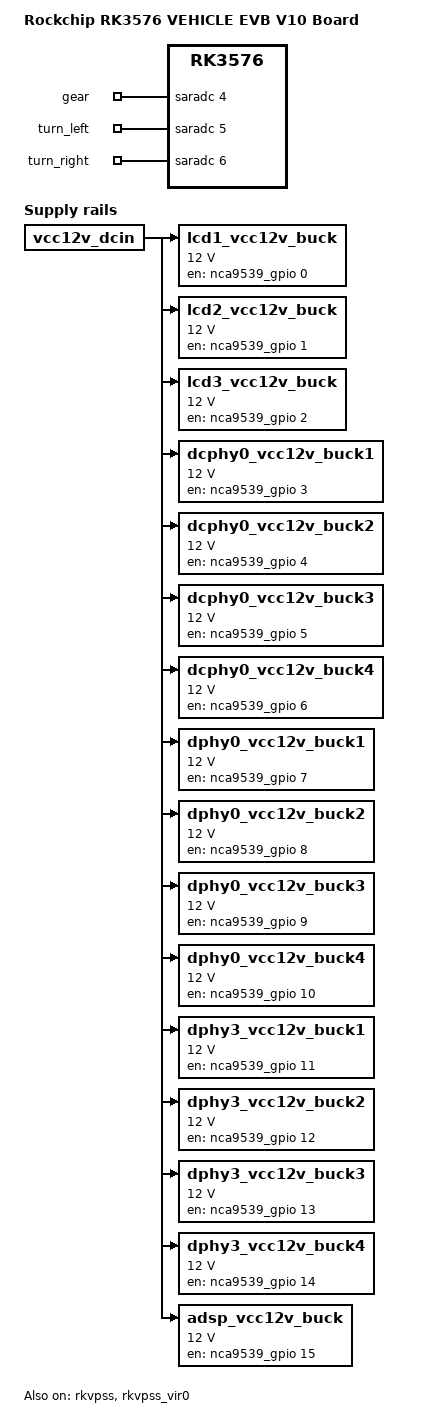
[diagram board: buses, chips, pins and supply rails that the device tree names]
// SPDX-License-Identifier: (GPL-2.0+ OR MIT)
/*
 * Copyright (c) 2024 Rockchip Electronics Co., Ltd.
 *
 */

/dts-v1/;

#include "rk3576.dtsi"
#include "rk3576-vehicle-evb.dtsi"
#include "rk3576-vehicle-evb-v10-nca9539-io-expander.dtsi"
#include "rk3576-vehicle-serdes-mfd-display-maxim.dtsi"
#include "rk3576-vehicle-evb-maxim-max96712-dphy0.dtsi"
#include "rk3576-android.dtsi"

/ {
	model = "Rockchip RK3576 VEHICLE EVB V10 Board";
	compatible = "rockchip,rk3576-vehicle-evb-v10", "rockchip,rk3576";

	vehicle_dummy: vehicle-dummy {
		status = "okay";
		compatible = "rockchip,vehicle-dummy-adc";
		io-channels = <&saradc 4>, <&saradc 5>, <&saradc 6>;
		io-channel-names = "gear", "turn_left", "turn_right";
	};

	lcd1_vcc12v_buck: lcd1_vcc12v-buck {
		compatible = "regulator-fixed";
		regulator-name = "lcd1_vcc12v_buck";
		regulator-boot-on;
		regulator-always-on;
		regulator-min-microvolt = <12000000>;
		regulator-max-microvolt = <12000000>;
		enable-active-high;
		gpio = <&nca9539_gpio 0 GPIO_ACTIVE_HIGH>;
		vin-supply = <&vcc12v_dcin>;
		regulator-state-mem {
			regulator-off-in-suspend;
			regulator-suspend-microvolt = <12000000>;
		};
	};

	lcd2_vcc12v_buck: lcd2_vcc12v-buck {
		compatible = "regulator-fixed";
		regulator-name = "lcd2_vcc12v_buck";
		regulator-boot-on;
		regulator-always-on;
		regulator-min-microvolt = <12000000>;
		regulator-max-microvolt = <12000000>;
		enable-active-high;
		gpio = <&nca9539_gpio 1 GPIO_ACTIVE_HIGH>;
		vin-supply = <&vcc12v_dcin>;
		regulator-state-mem {
			regulator-off-in-suspend;
			regulator-suspend-microvolt = <12000000>;
		};
	};

	lcd3_vcc12v_buck: lcd3_vcc12v-buck {
		compatible = "regulator-fixed";
		regulator-name = "lcd3_vcc12v_buck";
		regulator-boot-on;
		regulator-always-on;
		regulator-min-microvolt = <12000000>;
		regulator-max-microvolt = <12000000>;
		enable-active-high;
		gpio = <&nca9539_gpio 2 GPIO_ACTIVE_HIGH>;
		vin-supply = <&vcc12v_dcin>;
		regulator-state-mem {
			regulator-off-in-suspend;
			regulator-suspend-microvolt = <12000000>;
		};
	};

	dcphy0_vcc12v_buck1: dcphy0_vcc12v-buck1 {
		compatible = "regulator-fixed";
		regulator-name = "dcphy0_vcc12v_buck1";
		regulator-boot-on;
		regulator-min-microvolt = <12000000>;
		regulator-max-microvolt = <12000000>;
		enable-active-high;
		gpio = <&nca9539_gpio 3 GPIO_ACTIVE_HIGH>;
		startup-delay-us = <2000>;
		off-on-delay-us = <16000>;
		vin-supply = <&vcc12v_dcin>;
		regulator-state-mem {
			regulator-off-in-suspend;
			regulator-suspend-microvolt = <12000000>;
		};
	};

	dcphy0_vcc12v_buck2: dcphy0_vcc12v-buck2 {
		compatible = "regulator-fixed";
		regulator-name = "dcphy0_vcc12v_buck2";
		regulator-boot-on;
		regulator-min-microvolt = <12000000>;
		regulator-max-microvolt = <12000000>;
		enable-active-high;
		gpio = <&nca9539_gpio 4 GPIO_ACTIVE_HIGH>;
		startup-delay-us = <2000>;
		off-on-delay-us = <16000>;
		vin-supply = <&vcc12v_dcin>;
		regulator-state-mem {
			regulator-off-in-suspend;
			regulator-suspend-microvolt = <12000000>;
		};
	};

	dcphy0_vcc12v_buck3: dcphy0_vcc12v-buck3 {
		compatible = "regulator-fixed";
		regulator-name = "dcphy0_vcc12v_buck3";
		regulator-boot-on;
		regulator-min-microvolt = <12000000>;
		regulator-max-microvolt = <12000000>;
		enable-active-high;
		gpio = <&nca9539_gpio 5 GPIO_ACTIVE_HIGH>;
		startup-delay-us = <2000>;
		off-on-delay-us = <16000>;
		vin-supply = <&vcc12v_dcin>;
		regulator-state-mem {
			regulator-off-in-suspend;
			regulator-suspend-microvolt = <12000000>;
		};
	};

	dcphy0_vcc12v_buck4: dcphy0_vcc12v-buck4 {
		compatible = "regulator-fixed";
		regulator-name = "dcphy0_vcc12v_buck4";
		regulator-boot-on;
		regulator-min-microvolt = <12000000>;
		regulator-max-microvolt = <12000000>;
		enable-active-high;
		gpio = <&nca9539_gpio 6 GPIO_ACTIVE_HIGH>;
		startup-delay-us = <2000>;
		off-on-delay-us = <16000>;
		vin-supply = <&vcc12v_dcin>;
		regulator-state-mem {
			regulator-off-in-suspend;
			regulator-suspend-microvolt = <12000000>;
		};
	};

	dphy0_vcc12v_buck1: dphy0_vcc12v-buck1 {
		compatible = "regulator-fixed";
		regulator-name = "dphy0_vcc12v_buck1";
		regulator-boot-on;
		regulator-min-microvolt = <12000000>;
		regulator-max-microvolt = <12000000>;
		enable-active-high;
		gpio = <&nca9539_gpio 7 GPIO_ACTIVE_HIGH>;
		startup-delay-us = <2000>;
		off-on-delay-us = <16000>;
		vin-supply = <&vcc12v_dcin>;
		regulator-state-mem {
			regulator-off-in-suspend;
			regulator-suspend-microvolt = <12000000>;
		};
	};

	dphy0_vcc12v_buck2: dphy0_vcc12v-buck2 {
		compatible = "regulator-fixed";
		regulator-name = "dphy0_vcc12v_buck2";
		regulator-boot-on;
		regulator-min-microvolt = <12000000>;
		regulator-max-microvolt = <12000000>;
		enable-active-high;
		gpio = <&nca9539_gpio 8 GPIO_ACTIVE_HIGH>;
		startup-delay-us = <2000>;
		off-on-delay-us = <16000>;
		vin-supply = <&vcc12v_dcin>;
		regulator-state-mem {
			regulator-off-in-suspend;
			regulator-suspend-microvolt = <12000000>;
		};
	};

	dphy0_vcc12v_buck3: dphy0_vcc12v-buck3 {
		compatible = "regulator-fixed";
		regulator-name = "dphy0_vcc12v_buck3";
		regulator-boot-on;
		regulator-min-microvolt = <12000000>;
		regulator-max-microvolt = <12000000>;
		enable-active-high;
		gpio = <&nca9539_gpio 9 GPIO_ACTIVE_HIGH>;
		startup-delay-us = <2000>;
		off-on-delay-us = <16000>;
		vin-supply = <&vcc12v_dcin>;
		regulator-state-mem {
			regulator-off-in-suspend;
			regulator-suspend-microvolt = <12000000>;
		};
	};

	dphy0_vcc12v_buck4: dphy0_vcc12v-buck4 {
		compatible = "regulator-fixed";
		regulator-name = "dphy0_vcc12v_buck4";
		regulator-boot-on;
		regulator-min-microvolt = <12000000>;
		regulator-max-microvolt = <12000000>;
		enable-active-high;
		gpio = <&nca9539_gpio 10 GPIO_ACTIVE_HIGH>;
		startup-delay-us = <2000>;
		off-on-delay-us = <16000>;
		vin-supply = <&vcc12v_dcin>;
		regulator-state-mem {
			regulator-off-in-suspend;
			regulator-suspend-microvolt = <12000000>;
		};
	};

	dphy3_vcc12v_buck1: dphy3_vcc12v-buck1 {
		compatible = "regulator-fixed";
		regulator-name = "dphy3_vcc12v_buck1";
		regulator-boot-on;
		regulator-min-microvolt = <12000000>;
		regulator-max-microvolt = <12000000>;
		enable-active-high;
		gpio = <&nca9539_gpio 11 GPIO_ACTIVE_HIGH>;
		startup-delay-us = <2000>;
		off-on-delay-us = <16000>;
		vin-supply = <&vcc12v_dcin>;
		regulator-state-mem {
			regulator-off-in-suspend;
			regulator-suspend-microvolt = <12000000>;
		};
	};

	dphy3_vcc12v_buck2: dphy3_vcc12v-buck2 {
		compatible = "regulator-fixed";
		regulator-name = "dphy3_vcc12v_buck2";
		regulator-boot-on;
		regulator-min-microvolt = <12000000>;
		regulator-max-microvolt = <12000000>;
		enable-active-high;
		gpio = <&nca9539_gpio 12 GPIO_ACTIVE_HIGH>;
		startup-delay-us = <2000>;
		off-on-delay-us = <16000>;
		vin-supply = <&vcc12v_dcin>;
		regulator-state-mem {
			regulator-off-in-suspend;
			regulator-suspend-microvolt = <12000000>;
		};
	};

	dphy3_vcc12v_buck3: dphy3_vcc12v-buck3 {
		compatible = "regulator-fixed";
		regulator-name = "dphy3_vcc12v_buck3";
		regulator-boot-on;
		regulator-min-microvolt = <12000000>;
		regulator-max-microvolt = <12000000>;
		enable-active-high;
		gpio = <&nca9539_gpio 13 GPIO_ACTIVE_HIGH>;
		startup-delay-us = <2000>;
		off-on-delay-us = <16000>;
		vin-supply = <&vcc12v_dcin>;
		regulator-state-mem {
			regulator-off-in-suspend;
			regulator-suspend-microvolt = <12000000>;
		};
	};

	dphy3_vcc12v_buck4: dphy3_vcc12v-buck4 {
		compatible = "regulator-fixed";
		regulator-name = "dphy3_vcc12v_buck4";
		regulator-boot-on;
		regulator-min-microvolt = <12000000>;
		regulator-max-microvolt = <12000000>;
		enable-active-high;
		gpio = <&nca9539_gpio 14 GPIO_ACTIVE_HIGH>;
		startup-delay-us = <2000>;
		off-on-delay-us = <16000>;
		vin-supply = <&vcc12v_dcin>;
		regulator-state-mem {
			regulator-off-in-suspend;
			regulator-suspend-microvolt = <12000000>;
		};
	};

	adsp_vcc12v_buck: adsp_vcc12v-buck {
		compatible = "regulator-fixed";
		regulator-name = "adsp_vcc12v_buck";
		regulator-boot-on;
		regulator-always-on;
		regulator-min-microvolt = <12000000>;
		regulator-max-microvolt = <12000000>;
		enable-active-high;
		gpio = <&nca9539_gpio 15 GPIO_ACTIVE_HIGH>;
		vin-supply = <&vcc12v_dcin>;
		regulator-state-mem {
			regulator-off-in-suspend;
			regulator-suspend-microvolt = <12000000>;
		};
	};
};

&dfi {
	status = "disabled";
};

&dmc {
	status = "disabled";
};

&gmac1 {
	status = "disabled";
};

&hym8563 {
	status = "disabled";
};

/*edp*/
&i2c2_max96752 {
	use-reg-check-work;
	vpower-supply = <&lcd1_vcc12v_buck>;
};

/*dp*/
&i2c5_max96752 {
	use-reg-check-work;
	vpower-supply = <&lcd2_vcc12v_buck>;
};

/*dsi*/
&i2c8_max96752 {
	use-reg-check-work;
	vpower-supply = <&lcd3_vcc12v_buck>;
};

&pinctrl {
	touch {
		//dsi-i2c8
		touch_gpio_dsi: touch-gpio-dsi {
			rockchip,pins =
				<3 RK_PA3 RK_FUNC_GPIO &pcfg_pull_up>;
		};
		//dp-i2c5
		touch_gpio_dp: touch-gpio-dp {
			rockchip,pins = <2 RK_PD3 RK_FUNC_GPIO &pcfg_pull_up>;
		};
		//edp0-i2c2
		touch_gpio_edp: touch-gpio-edp {
			rockchip,pins =
				<4 RK_PC1 RK_FUNC_GPIO &pcfg_pull_up>;
		};
	};

};

&rkvpss {
	status = "okay";
};

&rkvpss_mmu {
	status = "okay";
};

&rkvpss_vir0 {
	status = "okay";
};

&sdmmc {
	status = "disabled";
};

&ufs {
	status = "disabled";
};
